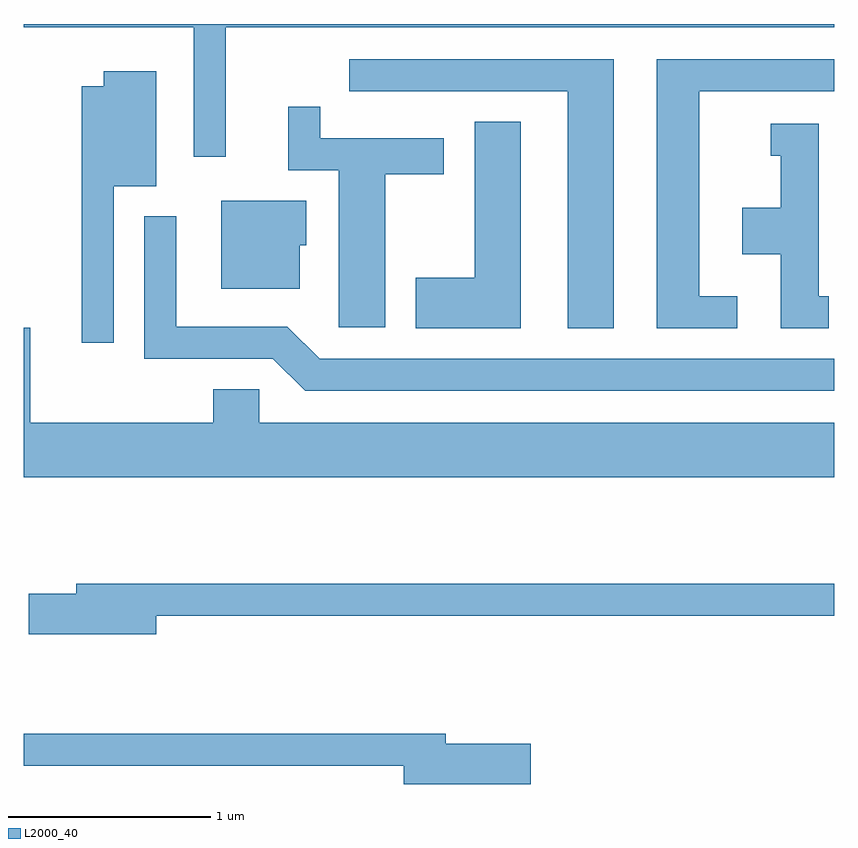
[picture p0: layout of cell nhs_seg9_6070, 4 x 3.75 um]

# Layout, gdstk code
import gdstk
lib = gdstk.Library(unit=1e-6, precision=1e-09)
def P(c, l, *ps):  # polygons
    for p in ps: c.add(gdstk.Polygon(p, *l))
L2000_40 = (2000, 40)

nhs_seg9_6070 = lib.new_cell('nhs_seg9_6070')
P(nhs_seg9_6070, L2000_40, [(364.609,2058.416),(367.611,2058.416),(367.611,2058.432),(363.611,2058.432),(363.611,2058.416),(364.451,2058.416),(364.451,2057.778),(364.609,2057.778)],
  [(366.524,2058.259),(365.218,2058.259),(365.218,2058.101),(366.296,2058.101),(366.296,2056.931),(366.524,2056.931)],
  [(367.133,2057.089),(366.944,2057.089),(366.944,2058.101),(367.611,2058.101),(367.611,2058.259),(366.736,2058.259),(366.736,2056.931),(367.133,2056.931)],
  [(364.054,2057.631),(364.264,2057.631),(364.264,2058.199),(364.006,2058.199),(364.006,2058.124),(363.896,2058.124),(363.896,2056.858),(364.054,2056.858)],
  [(365.394,2057.691),(365.684,2057.691),(365.684,2057.869),(365.074,2057.869),(365.074,2058.023),(364.916,2058.023),(364.916,2057.711),(365.166,2057.711),(365.166,2056.936),(365.394,2056.936)],
  [(366.064,2057.949),(365.836,2057.949),(365.836,2057.179),(365.546,2057.179),(365.546,2056.931),(366.064,2056.931)],
  [(367.583,2057.089),(367.534,2057.089),(367.534,2057.939),(367.298,2057.939),(367.298,2057.781),(367.346,2057.781),(367.346,2057.524),(367.156,2057.524),(367.156,2057.296),(367.346,2057.296),(367.346,2056.931),(367.583,2056.931)],
  [(364.974,2057.341),(365.004,2057.341),(365.004,2057.559),(364.586,2057.559),(364.586,2057.126),(364.974,2057.126)],
  [(367.611,2056.779),(365.072,2056.779),(364.912,2056.939),(364.364,2056.939),(364.364,2057.483),(364.206,2057.483),(364.206,2056.781),(364.839,2056.781),(364.999,2056.621),(367.611,2056.621)],
  [(367.611,2056.464),(364.774,2056.464),(364.774,2056.629),(364.546,2056.629),(364.546,2056.464),(363.644,2056.464),(363.644,2056.934),(363.611,2056.934),(363.611,2056.196),(367.611,2056.196)],
  [(364.264,2055.511),(367.611,2055.511),(367.611,2055.669),(363.871,2055.669),(363.871,2055.619),(363.636,2055.619),(363.636,2055.421),(364.264,2055.421)],
  [(366.114,2054.879),(365.694,2054.879),(365.694,2054.929),(363.611,2054.929),(363.611,2054.771),(365.486,2054.771),(365.486,2054.681),(366.114,2054.681)])

lib.write_gds('nhs_seg9_6070.gds')
